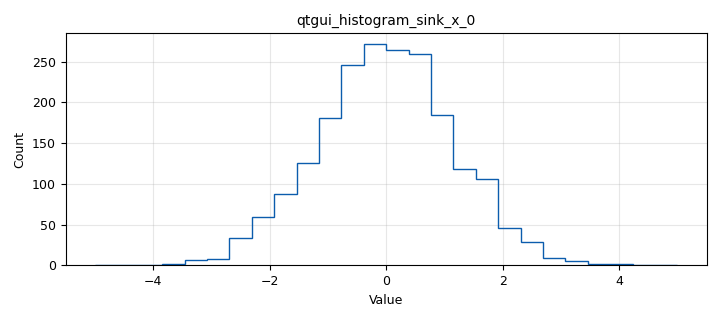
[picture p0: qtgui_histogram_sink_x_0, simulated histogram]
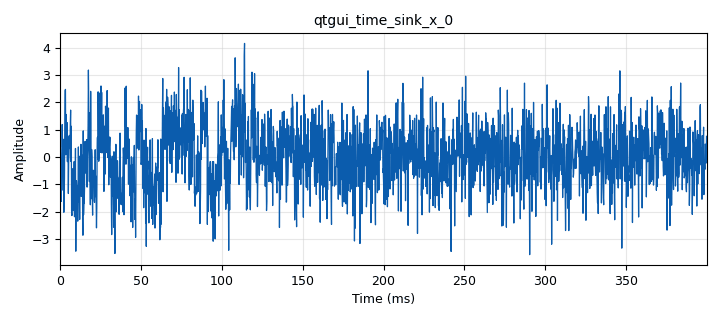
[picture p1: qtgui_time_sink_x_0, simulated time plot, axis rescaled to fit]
options:
  parameters:
    generate_options: qt_gui
    id: untitled
    output_language: python
    title: Not titled yet
  states: {}

blocks:
- name: samp_rate
  id: variable
  parameters:
    value: '5000'
  states: {}
- name: analog_noise_source_x_0
  id: analog_noise_source_x
  parameters:
    amp: '1'
    noise_type: analog.GR_GAUSSIAN
    seed: '0'
    type: float
  states: {}
- name: blocks_add_xx_0
  id: blocks_add_xx
  parameters:
    type: float
  states: {}
- name: blocks_throttle_0
  id: blocks_throttle
  parameters:
    samples_per_second: samp_rate
    type: float
  states: {}
- name: epy_block_0
  id: epy_block
  parameters:
    Nsamples: '20'
    Nsymbols: '100'
    _source_code: |
      """
      Embedded Python Blocks:

      Each time this file is saved, GRC will instantiate the first class it finds
      to get ports and parameters of your block. The arguments to __init__  will
      be the parameters. All of them are required to have default values!
      """

      import numpy as np
      from gnuradio import gr


      class blk(gr.basic_block):  # other base classes are basic_block, decim_block, interp_block
          """Embedded Python Block example - a simple multiply const"""

          def __init__(self, p_simbol_0=0.5, a0=-1, a1=1, Nsamples=20, Nsymbols=100 ):  # only default arguments here
              """arguments to this function show up as parameters in GRC"""
              gr.sync_block.__init__(
                  self,
                  name='Generador de Simbolos',   # will show up in GRC
                  in_sig= None, #[np.float32],
                  out_sig=[np.float32]
              )
              
              self.p_0 = p_simbol_0 #probabilidad de generación símbolo 1
              self.p_1 = 1-self.p_0 #probabilidad de generación símbolo 2
              self.a0 = a0
              self.a1 = a1

              self.Nsymbols = Nsymbols
              self.Nsamples = Nsamples

              self.N = Nsymbols * Nsamples 
              
              
              # if an attribute with the same name as a parameter is found,
              # a callback is registered (properties work, too).

          def work(self, input_items, output_items):
              # Genera una secuencia de símbolos basados en las probabilidades dadas
              data = np.random.choice([self.a0, self.a1], size=self.Nsymbols, p=[self.p_0, self.p_1])
              # Repite cada símbolo según el número de muestras por símbolo
              data = np.concatenate([[v]*self.Nsamples for v in data])
              message = data  # Almacena la secuencia completa en la variable 'message'
              """example: multiply with constant"""
              for i in range(len(message)):
              	output_items[0][i] =  message[i]
             
              return len(output_items[0])
    a0: '-1'
    a1: '1'
    p_simbol_0: '0.5'
  states: {}
- name: qtgui_histogram_sink_x_0
  id: qtgui_histogram_sink_x
  parameters:
    bins: '26'
    size: '2048'
    type: float
    xmax: '5'
    xmin: '-5'
  states: {}
- name: qtgui_time_sink_x_0
  id: qtgui_time_sink_x
  parameters:
    size: '2000'
    srate: samp_rate
    type: float
  states: {}
- name: zeromq_pub_sink_0
  id: zeromq_pub_sink
  parameters:
    address: tcp://0.0.0.0:5000
    timeout: '100'
    type: float
  states: {}

connections:
- [analog_noise_source_x_0, '0', blocks_add_xx_0, '1']
- [blocks_add_xx_0, '0', blocks_throttle_0, '0']
- [blocks_throttle_0, '0', qtgui_histogram_sink_x_0, '0']
- [blocks_throttle_0, '0', qtgui_time_sink_x_0, '0']
- [blocks_throttle_0, '0', zeromq_pub_sink_0, '0']
- [epy_block_0, '0', blocks_add_xx_0, '0']

metadata:
  file_format: 1
